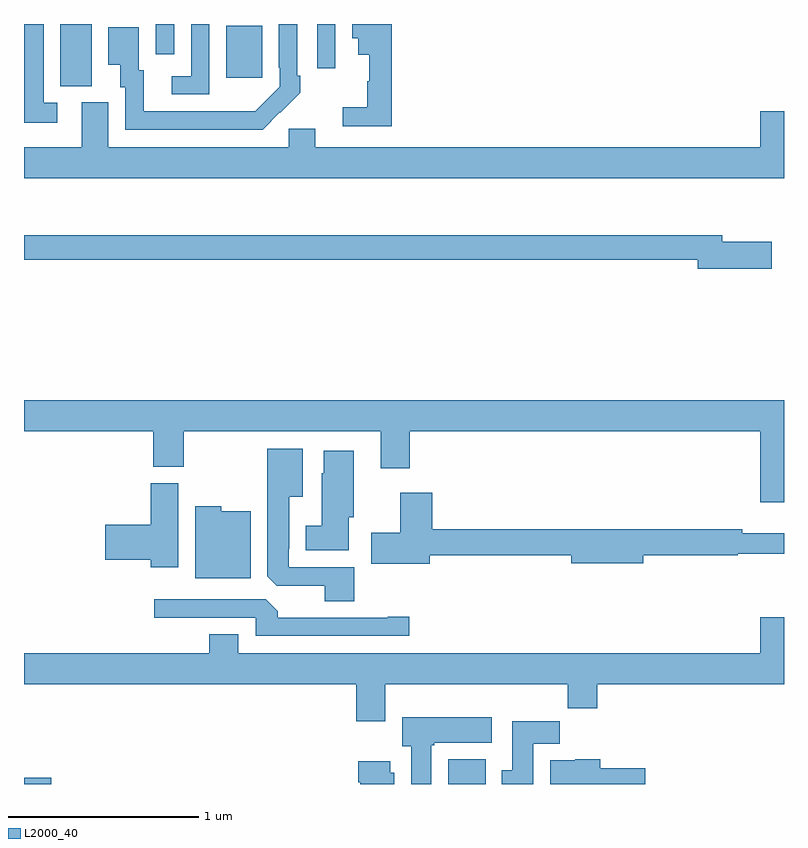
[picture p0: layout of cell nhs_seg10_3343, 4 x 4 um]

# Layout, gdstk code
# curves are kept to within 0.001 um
import gdstk
lib = gdstk.Library(unit=1e-6, precision=1e-09)
def R(c, l, rs):  # rectangles x0, y0, x1, y1
    for r in rs: c.add(gdstk.rectangle(r[:2], r[2:], *l))
def P(c, l, *ps):  # polygons
    for p in ps: c.add(gdstk.Polygon(p, *l))
L2000_40 = (2000, 40)

nhs_seg10_3343 = lib.new_cell('nhs_seg10_3343')
R(nhs_seg10_3343, L2000_40, [(293,1258.5,293.143,1258.532), (295.232,1258.5,295.429,1258.63), (293.192,1262.173,293.356,1262.5), (294.065,1262.217,294.253,1262.491), (294.543,1262.268,294.639,1262.5), (293.694,1262.34,293.79,1262.5)])
P(nhs_seg10_3343, L2000_40, [(293.976,1262.5),(293.88,1262.5),(293.88,1262.226),(293.778,1262.226),(293.778,1262.13),(293.976,1262.13)],
  [(294.935,1262.5),(294.728,1262.5),(294.728,1262.426),(294.758,1262.426),(294.758,1262.339),(294.818,1262.339),(294.818,1262.199),(294.807,1262.199),(294.807,1262.063),(294.678,1262.063),(294.678,1261.962),(294.935,1261.962)],
  [(293.176,1262.085),(293.103,1262.085),(293.103,1262.5),(293,1262.5),(293,1261.98),(293.176,1261.98)],
  [(294.347,1262.035),(294.348,1262.034),(294.453,1262.139),(294.453,1262.227),(294.438,1262.227),(294.438,1262.5),(294.342,1262.5),(294.342,1262.269),(294.345,1262.269),(294.345,1262.169),(294.217,1262.041),(293.629,1262.04),(293.629,1262.256),(293.605,1262.256),(293.605,1262.482),(293.444,1262.482),(293.444,1262.285),(293.507,1262.285),(293.507,1262.166),(293.532,1262.166),(293.532,1261.944),(294.256,1261.944)],
  [(297,1262.041),(296.876,1262.041),(296.876,1261.852),(294.532,1261.852),(294.532,1261.95),(294.393,1261.95),(294.393,1261.852),(293.443,1261.852),(293.443,1262.088),(293.303,1262.088),(293.303,1261.852),(293,1261.852),(293,1261.688),(297,1261.688)],
  [(296.935,1261.353),(296.674,1261.353),(296.674,1261.387),(293,1261.387),(293,1261.258),(296.546,1261.258),(296.546,1261.211),(296.935,1261.211)],
  [(297,1260.52),(293,1260.52),(293,1260.356),(293.681,1260.356),(293.681,1260.169),(293.841,1260.169),(293.841,1260.356),(294.878,1260.356),(294.878,1260.162),(295.031,1260.162),(295.031,1260.356),(296.876,1260.356),(296.876,1259.982),(297,1259.982)],
  [(294.737,1259.64),(294.393,1259.64),(294.393,1259.737),(294.397,1259.737),(294.397,1260.011),(294.466,1260.011),(294.466,1260.265),(294.281,1260.265),(294.281,1259.593),(294.33,1259.544),(294.584,1259.544),(294.584,1259.461),(294.737,1259.461)],
  [(294.709,1259.904),(294.736,1259.904),(294.736,1260.253),(294.578,1260.253),(294.578,1260.135),(294.566,1260.135),(294.566,1259.86),(294.482,1259.86),(294.482,1259.729),(294.709,1259.729)],
  [(293.812,1260.084),(293.666,1260.084),(293.666,1259.864),(293.427,1259.864),(293.427,1259.681),(293.666,1259.681),(293.666,1259.64),(293.812,1259.64)],
  [(295.135,1259.704),(295.88,1259.704),(295.88,1259.662),(296.26,1259.662),(296.26,1259.704),(296.756,1259.704),(296.756,1259.712),(297,1259.712),(297,1259.821),(296.78,1259.821),(296.78,1259.84),(295.148,1259.84),(295.148,1260.034),(294.98,1260.034),(294.98,1259.823),(294.828,1259.823),(294.828,1259.66),(295.135,1259.66)],
  [(294.193,1259.935),(294.039,1259.935),(294.039,1259.962),(293.9,1259.962),(293.9,1259.582),(294.193,1259.582)],
  [(295.027,1259.381),(294.914,1259.381),(294.914,1259.376),(294.335,1259.376),(294.335,1259.41),(294.273,1259.472),(293.685,1259.472),(293.685,1259.376),(294.219,1259.376),(294.219,1259.28),(295.027,1259.28)],
  [(294.901,1259.024),(295.861,1259.024),(295.861,1258.9),(296.018,1258.9),(296.018,1259.024),(297,1259.024),(297,1259.377),(296.876,1259.377),(296.876,1259.188),(294.127,1259.188),(294.127,1259.287),(293.975,1259.287),(293.975,1259.188),(293,1259.188),(293,1259.024),(294.749,1259.024),(294.749,1258.83),(294.901,1258.83)],
  [(295.144,1258.705),(295.158,1258.705),(295.158,1258.718),(295.462,1258.718),(295.462,1258.852),(294.992,1258.852),(294.992,1258.698),(295.037,1258.698),(295.037,1258.5),(295.144,1258.5)],
  [(295.681,1258.712),(295.82,1258.712),(295.82,1258.831),(295.571,1258.831),(295.571,1258.572),(295.514,1258.572),(295.514,1258.5),(295.681,1258.5)],
  [(296.269,1258.584),(296.033,1258.584),(296.033,1258.63),(295.902,1258.63),(295.902,1258.624),(295.769,1258.624),(295.769,1258.5),(296.269,1258.5)],
  [(294.949,1258.56),(294.928,1258.56),(294.928,1258.621),(294.758,1258.621),(294.758,1258.508),(294.77,1258.508),(294.77,1258.5),(294.949,1258.5)])

lib.write_gds('nhs_seg10_3343.gds')
